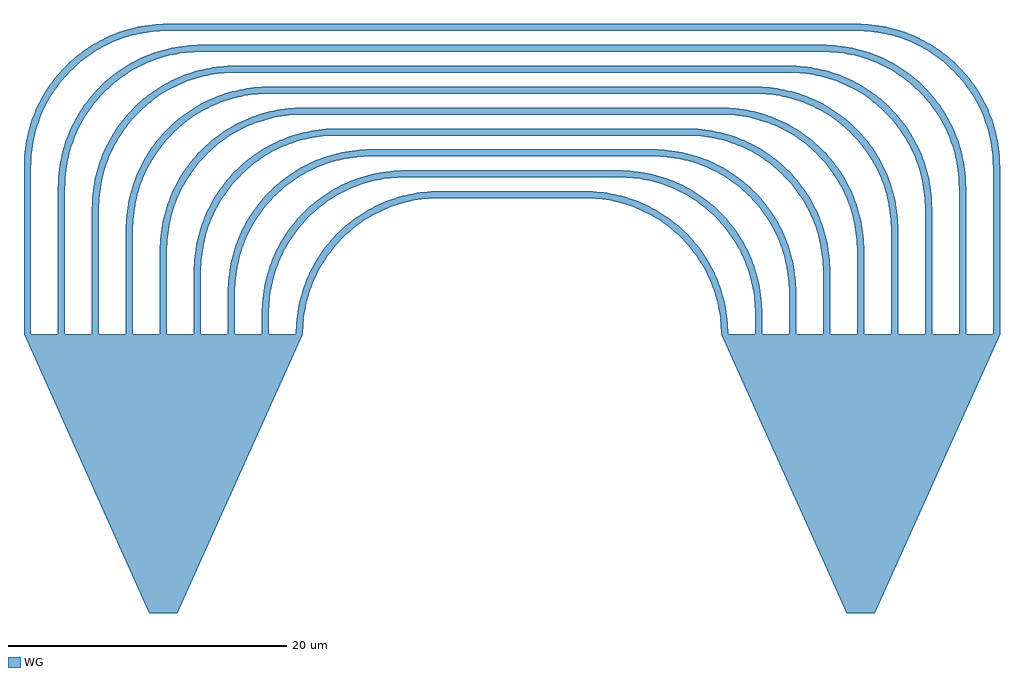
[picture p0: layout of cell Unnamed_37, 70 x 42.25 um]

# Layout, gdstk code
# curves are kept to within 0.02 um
import gdstk
lib = gdstk.Library(unit=1e-6, precision=1e-09)
def R(c, l, rs):  # rectangles x0, y0, x1, y1
    for r in rs: c.add(gdstk.rectangle(r[:2], r[2:], *l))
def P(c, l, *ps):  # polygons
    for p in ps: c.add(gdstk.Polygon(p, *l))
WG = (200, 0)

unnamed_37 = lib.new_cell('Unnamed_37')
R(unnamed_37, WG, [(15,55,15.5,67), (17.438,55,17.938,65.5), (19.875,55,20.375,64), (22.312,55,22.812,62.5), (24.75,55,25.25,61), (27.188,55,27.688,59.5), (29.625,55,30.125,58), (32.062,55,32.562,56.5), (67.438,55,67.938,56.5), (69.875,55,70.375,58), (72.312,55,72.812,59.5), (74.75,55,75.25,61), (77.188,55,77.688,62.5), (79.625,55,80.125,64), (82.062,55,82.562,65.5), (84.5,55,85,67), (44.75,64.75,55.25,65.25), (42.312,66.25,57.688,66.75), (39.875,67.75,60.125,68.25), (37.438,69.25,62.562,69.75), (35,70.75,65,71.25), (32.562,72.25,67.438,72.75), (30.125,73.75,69.875,74.25), (27.688,75.25,72.312,75.75), (25.25,76.75,74.75,77.25)])
P(unnamed_37, WG, [(24,35),(15,55),(35,55),(26,35)],
  [(74,35),(65,55),(85,55),(76,35)],
  [(84.5,67),(84.448,68.003),(84.294,68.994),(84.038,69.965),(83.782,70.673),(83.356,71.582),(82.977,72.233),(82.395,73.051),(81.732,73.805),(80.996,74.487),(80.399,74.947),(79.769,75.359),(79.109,75.721),(77.953,76.209),(76.989,76.489),(76.002,76.669),(74.75,76.75),(74.75,77.25),(75.804,77.196),(76.588,77.084),(77.615,76.842),(78.611,76.495),(79.567,76.047),(80.472,75.504),(81.316,74.871),(82.091,74.154),(82.787,73.361),(83.399,72.501),(83.919,71.583),(84.245,70.861),(84.431,70.368),(84.662,69.61),(84.834,68.838),(84.946,68.054),(84.997,67.264),(85,67)],
  [(15,67),(15.054,68.054),(15.166,68.838),(15.408,69.865),(15.755,70.861),(16.081,71.583),(16.601,72.501),(17.213,73.361),(17.909,74.154),(18.684,74.871),(19.528,75.504),(20.433,76.047),(21.389,76.495),(22.385,76.842),(23.412,77.084),(24.196,77.196),(25.25,77.25),(25.25,76.75),(24.247,76.698),(23.256,76.544),(22.047,76.209),(21.117,75.831),(20.231,75.359),(19.601,74.947),(19.004,74.487),(18.445,73.982),(17.763,73.246),(17.303,72.649),(16.891,72.019),(16.529,71.359),(16.041,70.203),(15.761,69.239),(15.581,68.252),(15.5,67)],
  [(82.062,65.5),(82.01,66.503),(81.856,67.494),(81.6,68.465),(81.344,69.173),(80.918,70.082),(80.539,70.733),(79.957,71.551),(79.294,72.305),(78.558,72.987),(77.961,73.447),(77.331,73.859),(76.671,74.221),(75.515,74.709),(74.551,74.989),(73.564,75.169),(72.312,75.25),(72.312,75.75),(73.366,75.696),(74.15,75.584),(75.177,75.342),(76.173,74.995),(77.129,74.547),(78.034,74.004),(78.878,73.371),(79.653,72.654),(80.349,71.861),(80.961,71.001),(81.481,70.083),(81.807,69.361),(81.993,68.868),(82.224,68.11),(82.396,67.338),(82.508,66.554),(82.559,65.764),(82.562,65.5)],
  [(17.438,65.5),(17.492,66.554),(17.604,67.338),(17.846,68.365),(18.193,69.361),(18.519,70.083),(19.039,71.001),(19.651,71.861),(20.347,72.654),(21.122,73.371),(21.966,74.004),(22.871,74.547),(23.827,74.995),(24.823,75.342),(25.85,75.584),(26.634,75.696),(27.688,75.75),(27.688,75.25),(26.685,75.198),(25.694,75.044),(24.485,74.709),(23.555,74.331),(22.669,73.859),(22.039,73.447),(21.442,72.987),(20.883,72.482),(20.201,71.746),(19.741,71.149),(19.329,70.519),(18.967,69.859),(18.479,68.703),(18.199,67.739),(18.019,66.752),(17.938,65.5)],
  [(79.625,64),(79.573,65.003),(79.419,65.994),(79.163,66.965),(78.907,67.673),(78.481,68.582),(78.102,69.233),(77.52,70.051),(76.857,70.805),(76.121,71.487),(75.524,71.947),(74.894,72.359),(74.234,72.721),(73.078,73.209),(72.114,73.489),(71.127,73.669),(69.875,73.75),(69.875,74.25),(70.929,74.196),(71.713,74.084),(72.74,73.842),(73.736,73.495),(74.692,73.047),(75.597,72.504),(76.441,71.871),(77.216,71.154),(77.912,70.361),(78.524,69.501),(79.044,68.583),(79.37,67.861),(79.556,67.368),(79.787,66.61),(79.959,65.838),(80.071,65.054),(80.122,64.264),(80.125,64)],
  [(19.875,64),(19.929,65.054),(20.041,65.838),(20.283,66.865),(20.63,67.861),(20.956,68.583),(21.476,69.501),(22.088,70.361),(22.784,71.154),(23.559,71.871),(24.403,72.504),(25.308,73.047),(26.264,73.495),(27.26,73.842),(28.287,74.084),(29.071,74.196),(30.125,74.25),(30.125,73.75),(29.122,73.698),(28.131,73.544),(26.922,73.209),(25.992,72.831),(25.106,72.359),(24.476,71.947),(23.879,71.487),(23.32,70.982),(22.638,70.246),(22.178,69.649),(21.766,69.019),(21.404,68.359),(20.916,67.203),(20.636,66.239),(20.456,65.252),(20.375,64)],
  [(77.188,62.5),(77.136,63.503),(76.982,64.494),(76.726,65.465),(76.47,66.173),(76.044,67.082),(75.665,67.733),(75.083,68.551),(74.42,69.305),(73.684,69.987),(73.087,70.447),(72.457,70.859),(71.797,71.221),(70.641,71.709),(69.677,71.989),(68.69,72.169),(67.438,72.25),(67.438,72.75),(68.492,72.696),(69.276,72.584),(70.303,72.342),(71.299,71.995),(72.255,71.547),(73.16,71.004),(74.004,70.371),(74.779,69.654),(75.475,68.861),(76.087,68.001),(76.607,67.083),(76.933,66.361),(77.119,65.868),(77.35,65.11),(77.522,64.338),(77.634,63.554),(77.685,62.764),(77.688,62.5)],
  [(22.312,62.5),(22.366,63.554),(22.478,64.338),(22.72,65.365),(23.067,66.361),(23.393,67.083),(23.913,68.001),(24.525,68.861),(25.221,69.654),(25.996,70.371),(26.84,71.004),(27.745,71.547),(28.701,71.995),(29.697,72.342),(30.724,72.584),(31.508,72.696),(32.562,72.75),(32.562,72.25),(31.559,72.198),(30.568,72.044),(29.359,71.709),(28.429,71.331),(27.543,70.859),(26.913,70.447),(26.316,69.987),(25.757,69.482),(25.075,68.746),(24.615,68.149),(24.203,67.519),(23.841,66.859),(23.353,65.703),(23.073,64.739),(22.893,63.752),(22.812,62.5)],
  [(74.75,61),(74.698,62.003),(74.544,62.994),(74.288,63.965),(74.032,64.673),(73.606,65.582),(73.227,66.233),(72.645,67.051),(71.982,67.805),(71.246,68.487),(70.649,68.947),(70.019,69.359),(69.359,69.721),(68.203,70.209),(67.239,70.489),(66.252,70.669),(65,70.75),(65,71.25),(66.054,71.196),(66.838,71.084),(67.865,70.842),(68.861,70.495),(69.817,70.047),(70.722,69.504),(71.566,68.871),(72.341,68.154),(73.037,67.361),(73.649,66.501),(74.169,65.583),(74.495,64.861),(74.681,64.368),(74.912,63.61),(75.084,62.838),(75.196,62.054),(75.247,61.264),(75.25,61)],
  [(24.75,61),(24.804,62.054),(24.916,62.838),(25.158,63.865),(25.505,64.861),(25.831,65.583),(26.351,66.501),(26.963,67.361),(27.659,68.154),(28.434,68.871),(29.278,69.504),(30.183,70.047),(31.139,70.495),(32.135,70.842),(33.162,71.084),(33.946,71.196),(35,71.25),(35,70.75),(33.997,70.698),(33.006,70.544),(31.797,70.209),(30.867,69.831),(29.981,69.359),(29.351,68.947),(28.754,68.487),(28.195,67.982),(27.513,67.246),(27.053,66.649),(26.641,66.019),(26.279,65.359),(25.791,64.203),(25.511,63.239),(25.331,62.252),(25.25,61)],
  [(72.312,59.5),(72.26,60.503),(72.106,61.494),(71.85,62.465),(71.594,63.173),(71.168,64.082),(70.789,64.733),(70.207,65.551),(69.544,66.305),(68.808,66.987),(68.211,67.447),(67.581,67.859),(66.921,68.221),(65.765,68.709),(64.801,68.989),(63.814,69.169),(62.562,69.25),(62.562,69.75),(63.616,69.696),(64.4,69.584),(65.427,69.342),(66.423,68.995),(67.379,68.547),(68.284,68.004),(69.128,67.371),(69.903,66.654),(70.599,65.861),(71.211,65.001),(71.731,64.083),(72.057,63.361),(72.243,62.868),(72.474,62.11),(72.646,61.338),(72.758,60.554),(72.809,59.764),(72.812,59.5)],
  [(27.188,59.5),(27.242,60.554),(27.354,61.338),(27.596,62.365),(27.943,63.361),(28.269,64.083),(28.789,65.001),(29.401,65.861),(30.097,66.654),(30.872,67.371),(31.716,68.004),(32.621,68.547),(33.577,68.995),(34.573,69.342),(35.6,69.584),(36.384,69.696),(37.438,69.75),(37.438,69.25),(36.435,69.198),(35.444,69.044),(34.235,68.709),(33.305,68.331),(32.419,67.859),(31.789,67.447),(31.192,66.987),(30.633,66.482),(29.951,65.746),(29.491,65.149),(29.079,64.519),(28.717,63.859),(28.229,62.703),(27.949,61.739),(27.769,60.752),(27.688,59.5)],
  [(69.875,58),(69.823,59.003),(69.669,59.994),(69.413,60.965),(69.157,61.673),(68.731,62.582),(68.352,63.233),(67.77,64.051),(67.107,64.805),(66.371,65.487),(65.774,65.947),(65.144,66.359),(64.484,66.721),(63.328,67.209),(62.364,67.489),(61.377,67.669),(60.125,67.75),(60.125,68.25),(61.179,68.196),(61.963,68.084),(62.99,67.842),(63.986,67.495),(64.942,67.047),(65.847,66.504),(66.691,65.871),(67.466,65.154),(68.162,64.361),(68.774,63.501),(69.294,62.583),(69.62,61.861),(69.806,61.368),(70.037,60.61),(70.209,59.838),(70.321,59.054),(70.372,58.264),(70.375,58)],
  [(29.625,58),(29.679,59.054),(29.791,59.838),(30.033,60.865),(30.38,61.861),(30.706,62.583),(31.226,63.501),(31.838,64.361),(32.534,65.154),(33.309,65.871),(34.153,66.504),(35.058,67.047),(36.014,67.495),(37.01,67.842),(38.037,68.084),(38.821,68.196),(39.875,68.25),(39.875,67.75),(38.872,67.698),(37.881,67.544),(36.672,67.209),(35.742,66.831),(34.856,66.359),(34.226,65.947),(33.629,65.487),(33.07,64.982),(32.388,64.246),(31.928,63.649),(31.516,63.019),(31.154,62.359),(30.666,61.203),(30.386,60.239),(30.206,59.252),(30.125,58)],
  [(67.438,56.5),(67.386,57.503),(67.232,58.494),(66.976,59.465),(66.72,60.173),(66.294,61.082),(65.915,61.733),(65.333,62.551),(64.67,63.305),(63.934,63.987),(63.337,64.447),(62.707,64.859),(62.047,65.221),(60.891,65.709),(59.927,65.989),(58.94,66.169),(57.688,66.25),(57.688,66.75),(58.742,66.696),(59.526,66.584),(60.553,66.342),(61.549,65.995),(62.505,65.547),(63.41,65.004),(64.254,64.371),(65.029,63.654),(65.725,62.861),(66.337,62.001),(66.857,61.083),(67.183,60.361),(67.369,59.868),(67.6,59.11),(67.772,58.338),(67.884,57.554),(67.935,56.764),(67.938,56.5)],
  [(32.062,56.5),(32.116,57.554),(32.228,58.338),(32.47,59.365),(32.817,60.361),(33.143,61.083),(33.663,62.001),(34.275,62.861),(34.971,63.654),(35.746,64.371),(36.59,65.004),(37.495,65.547),(38.451,65.995),(39.447,66.342),(40.474,66.584),(41.258,66.696),(42.312,66.75),(42.312,66.25),(41.309,66.198),(40.318,66.044),(39.109,65.709),(38.179,65.331),(37.293,64.859),(36.663,64.447),(36.066,63.987),(35.507,63.482),(34.825,62.746),(34.365,62.149),(33.953,61.519),(33.591,60.859),(33.103,59.703),(32.823,58.739),(32.643,57.752),(32.562,56.5)],
  [(65,55),(64.948,56.003),(64.794,56.994),(64.538,57.965),(64.282,58.673),(63.856,59.582),(63.477,60.233),(62.895,61.051),(62.232,61.805),(61.496,62.487),(60.899,62.947),(60.269,63.359),(59.609,63.721),(58.453,64.209),(57.489,64.489),(56.502,64.669),(55.25,64.75),(55.25,65.25),(56.304,65.196),(57.088,65.084),(58.115,64.842),(59.111,64.495),(60.067,64.047),(60.972,63.504),(61.816,62.871),(62.591,62.154),(63.287,61.361),(63.899,60.501),(64.419,59.583),(64.745,58.861),(64.931,58.368),(65.162,57.61),(65.334,56.838),(65.446,56.054),(65.497,55.264),(65.5,55)],
  [(34.5,55),(34.554,56.054),(34.666,56.838),(34.908,57.865),(35.255,58.861),(35.581,59.583),(36.101,60.501),(36.713,61.361),(37.409,62.154),(38.184,62.871),(39.028,63.504),(39.933,64.047),(40.889,64.495),(41.885,64.842),(42.912,65.084),(43.696,65.196),(44.75,65.25),(44.75,64.75),(43.747,64.698),(42.756,64.544),(41.547,64.209),(40.617,63.831),(39.731,63.359),(39.101,62.947),(38.504,62.487),(37.945,61.982),(37.263,61.246),(36.803,60.649),(36.391,60.019),(36.029,59.359),(35.541,58.203),(35.261,57.239),(35.081,56.252),(35,55)])

lib.write_gds('Unnamed_37.gds')
